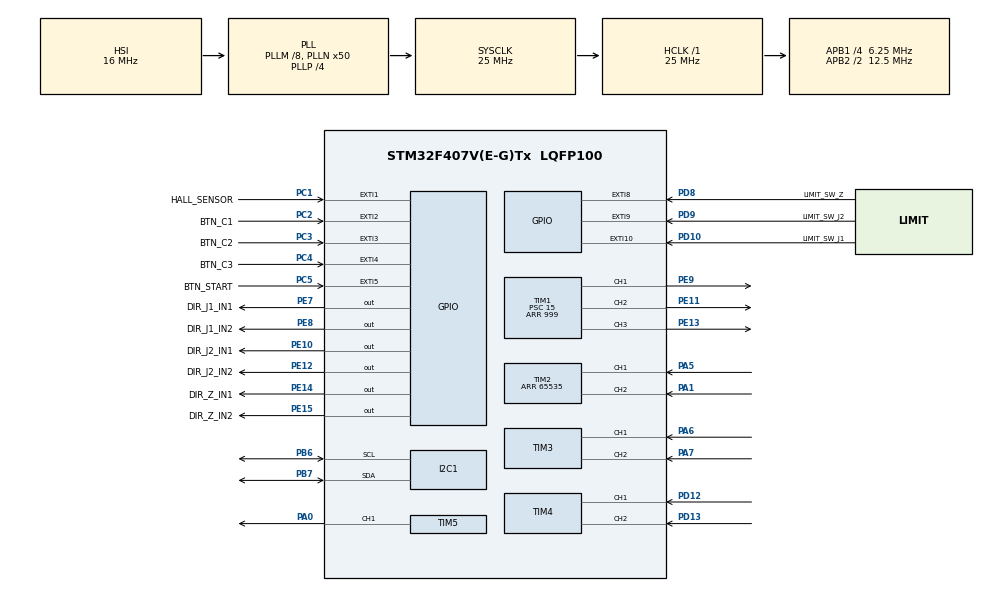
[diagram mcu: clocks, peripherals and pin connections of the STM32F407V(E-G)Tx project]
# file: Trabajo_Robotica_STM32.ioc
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Mcu.Family=STM32F4
Mcu.Name=STM32F407V(E-G)Tx
Mcu.Package=LQFP100
NVIC.EXTI15_10_IRQn=true\:0\:0\:false\:false\:true\:true\:true\:true
NVIC.EXTI1_IRQn=true\:0\:0\:false\:false\:true\:true\:true\:true
NVIC.EXTI2_IRQn=true\:0\:0\:false\:false\:true\:true\:true\:true
NVIC.EXTI3_IRQn=true\:0\:0\:false\:false\:true\:true\:true\:true
NVIC.EXTI4_IRQn=true\:0\:0\:false\:false\:true\:true\:true\:true
NVIC.EXTI9_5_IRQn=true\:0\:0\:false\:false\:true\:true\:true\:true
NVIC.PriorityGroup=NVIC_PRIORITYGROUP_0
PA0-WKUP.Signal=S_TIM5_CH1
PA1.Signal=S_TIM2_CH2
PA5.Signal=S_TIM2_CH1_ETR
PA6.Signal=S_TIM3_CH1
PA7.Signal=S_TIM3_CH2
PB6.Mode=I2C
PB6.Signal=I2C1_SCL
PB7.Mode=I2C
PB7.Signal=I2C1_SDA
PC1.GPIO_Label=HALL_SENSOR
PC1.Signal=GPXTI1
PC2.GPIO_Label=BTN_C1
PC2.Signal=GPXTI2
PC3.GPIO_Label=BTN_C2
PC3.Signal=GPXTI3
PC4.GPIO_Label=BTN_C3
PC4.Signal=GPXTI4
PC5.GPIO_Label=BTN_START
PC5.Signal=GPXTI5
PD10.GPIO_Label=LIMIT_SW_J1
PD10.Signal=GPXTI10
PD12.Signal=S_TIM4_CH1
PD13.Signal=S_TIM4_CH2
PD8.GPIO_Label=LIMIT_SW_Z
PD8.Signal=GPXTI8
PD9.GPIO_Label=LIMIT_SW_J2
PD9.Signal=GPXTI9
PE10.GPIO_Label=DIR_J2_IN1
PE10.Signal=GPIO_Output
PE11.Signal=S_TIM1_CH2
PE12.GPIO_Label=DIR_J2_IN2
PE12.Signal=GPIO_Output
PE13.Signal=S_TIM1_CH3
PE14.GPIO_Label=DIR_Z_IN1
PE14.Signal=GPIO_Output
PE15.GPIO_Label=DIR_Z_IN2
PE15.Signal=GPIO_Output
PE7.GPIO_Label=DIR_J1_IN1
PE7.Signal=GPIO_Output
PE8.GPIO_Label=DIR_J1_IN2
PE8.Signal=GPIO_Output
PE9.Signal=S_TIM1_CH1
ProjectManager.HeapSize=0x200
ProjectManager.StackSize=0x400
ProjectManager.TargetToolchain=STM32CubeIDE
RCC.48MHZClocksFreq_Value=14285714.285714285
RCC.AHBFreq_Value=25000000
RCC.APB1CLKDivider=RCC_HCLK_DIV4
RCC.APB1Freq_Value=6250000
RCC.APB1TimFreq_Value=12500000
RCC.APB2CLKDivider=RCC_HCLK_DIV2
RCC.APB2Freq_Value=12500000
RCC.APB2TimFreq_Value=25000000
RCC.CortexFreq_Value=25000000
RCC.HCLKFreq_Value=25000000
RCC.HSE_VALUE=8000000
RCC.HSI_VALUE=16000000
RCC.LSE_VALUE=32768
RCC.PLLM=8
RCC.PLLN=50
RCC.PLLP=RCC_PLLP_DIV4
RCC.PLLQ=7
RCC.SYSCLKFreq_VALUE=25000000
RCC.SYSCLKSource=RCC_SYSCLKSOURCE_PLLCLK
RCC.VCOOutputFreq_Value=100000000
SH.S_TIM1_CH1.0=TIM1_CH1,PWM Generation1 CH1
SH.S_TIM1_CH2.0=TIM1_CH2,PWM Generation2 CH2
SH.S_TIM1_CH3.0=TIM1_CH3,PWM Generation3 CH3
SH.S_TIM2_CH1_ETR.0=TIM2_CH1,Encoder_Interface
SH.S_TIM2_CH2.0=TIM2_CH2,Encoder_Interface
SH.S_TIM3_CH1.0=TIM3_CH1,Encoder_Interface
SH.S_TIM3_CH2.0=TIM3_CH2,Encoder_Interface
SH.S_TIM4_CH1.0=TIM4_CH1,Encoder_Interface
SH.S_TIM4_CH2.0=TIM4_CH2,Encoder_Interface
SH.S_TIM5_CH1.0=TIM5_CH1,PWM Generation1 CH1
TIM1.Channel-PWM\ Generation1\ CH1=TIM_CHANNEL_1
TIM1.Channel-PWM\ Generation2\ CH2=TIM_CHANNEL_2
TIM1.Channel-PWM\ Generation3\ CH3=TIM_CHANNEL_3
TIM1.Period=999
TIM1.Prescaler=15
TIM2.Period=65535
TIM5.Channel-PWM\ Generation1\ CH1=TIM_CHANNEL_1
TIM5.Period=19999
TIM5.Prescaler=15
board=STM32F407G-DISC1

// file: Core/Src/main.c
/* USER CODE BEGIN Header */
/**
  ******************************************************************************
  * @file           : main.c
  * @brief          : Main program body
  ******************************************************************************
  * @attention
  *
  * Copyright (c) 2026 STMicroelectronics.
  * All rights reserved.
  *
  * This software is licensed under terms that can be found in the LICENSE file
  * in the root directory of this software component.
  * If no LICENSE file comes with this software, it is provided AS-IS.
  *
  ******************************************************************************
  */
/* USER CODE END Header */
#include "main.h"

/* USER CODE BEGIN Includes */
#include "encoder_hw.h"
#include "i2c_lcd_hri.h"
/* USER CODE END Includes */

I2C_HandleTypeDef hi2c1;

TIM_HandleTypeDef htim1;
TIM_HandleTypeDef htim2;
TIM_HandleTypeDef htim3;
TIM_HandleTypeDef htim4;
TIM_HandleTypeDef htim5;

void SystemClock_Config(void);
static void MX_GPIO_Init(void);
static void MX_I2C1_Init(void);
static void MX_TIM1_Init(void);
static void MX_TIM2_Init(void);
static void MX_TIM3_Init(void);
static void MX_TIM4_Init(void);
static void MX_TIM5_Init(void);

/* USER CODE BEGIN PFP */
void Dibujar_Linea_Aleatoria(void);
void Dibujar_Circulo_Aleatorio(void);
void Subir_Rotulador(int y_actual);

//presentamos funciones externas para que el main no se asuste
void Encoders_Init(void);
void Display_LCD_Escribir(int fila, int col, char* texto);
int Leer_Botones_Accion(void);
int Leer_Boton_Reset(void);
/* USER CODE END PFP */

int main(void)
{

  /* MCU Configuration--------------------------------------------------------*/

  /* Reset of all peripherals, Initializes the Flash interface and the Systick. */
  HAL_Init();

  /* Configure the system clock */
  SystemClock_Config();

  /* Initialize all configured peripherals */
  MX_GPIO_Init();
  MX_I2C1_Init();
  MX_TIM1_Init();
  MX_TIM2_Init();
  MX_TIM3_Init();
  MX_TIM4_Init();
  MX_TIM5_Init();

  /* USER CODE BEGIN 2 */
  //nuestro candado de seguridad 0 libre, 1 ocupado
  uint8_t robot_dibujando = 0;

  //arranco los encoders por hardware (Sofia)
  Encoders_Init();

  //mensaje inicial
  Display_LCD_Escribir(0, 0, "ROBOT LISTO");
  /* USER CODE END 2 */

  /* Infinite loop */
  /* USER CODE BEGIN WHILE */
  while (1)
  {
	  //leemos botones
	  int accion = Leer_Botones_Accion();
	  int reset = Leer_Boton_Reset();

	  //PRIORIDAD 1: BOTÓN DE RESET (Pánico / Pulsación Larga)
	        if (reset == 1) {
	            robot_dibujando = 0; // Rompemos el candado por si se había quedado bloqueado
	            Subir_Rotulador(0);  // Levantamos el rotulador a tope por seguridad

	            Display_LCD_Escribir(0, 0, "SISTEMA RESET   ");
	            HAL_Delay(1500);     // Esperamos un segundo y medio
	            Display_LCD_Escribir(0, 0, "ROBOT LISTO     ");
	        }

	        //PRIORIDAD 2: ACCIONES NORMALES
	        else if (accion != 0) {

	            // Acción 1: Girar Gripper
	            if (accion == 1) {
	                if (robot_dibujando == 0) {
	                    Display_LCD_Escribir(0, 0, "GIRANDO GRIPPER ");

	                    // AVISO: Aquí irá la función de girar el tambor de colores
	                    HAL_Delay(500); // Simulamos que tarda un poco

	                    Display_LCD_Escribir(0, 0, "ROBOT LISTO     ");
	                } else {
	                    // Si intentan girar mientras pinta, les regañamos
	                    Display_LCD_Escribir(0, 0, "ERROR: DIBUJANDO");
	                    HAL_Delay(1000);
	                    // Volvemos a poner lo que estaba haciendo
	                    Display_LCD_Escribir(0, 0, "DIBUJANDO...    ");
	                }
	            }

	            // Acción 2: Dibujar Círculo
	            else if (accion == 2 && robot_dibujando == 0) {
	                robot_dibujando = 1; // CERRAMOS CANDADO
	                Display_LCD_Escribir(0, 0, "DIBUJANDO CIRCUL");

	                Dibujar_Circulo_Aleatorio(); // ¡Llamamos a tu super función!

	                robot_dibujando = 0; // ABRIMOS CANDADO
	                Display_LCD_Escribir(0, 0, "ROBOT LISTO     ");
	            }

	            // Acción 3: Dibujar Línea
	            else if (accion == 3 && robot_dibujando == 0) {
	                robot_dibujando = 1; // CERRAMOS CANDADO
	                Display_LCD_Escribir(0, 0, "DIBUJANDO LINEA ");

	                Dibujar_Linea_Aleatoria(); // ¡Llamamos a tu super función!

	                robot_dibujando = 0; // ABRIMOS CANDADO
	                Display_LCD_Escribir(0, 0, "ROBOT LISTO     ");
	            }
	        }

    /* USER CODE END WHILE */

  }
}

void SystemClock_Config(void)
{
  RCC_OscInitTypeDef RCC_OscInitStruct = {0};
  RCC_ClkInitTypeDef RCC_ClkInitStruct = {0};

  /** Configure the main internal regulator output voltage
  */
  __HAL_RCC_PWR_CLK_ENABLE();
  __HAL_PWR_VOLTAGESCALING_CONFIG(PWR_REGULATOR_VOLTAGE_SCALE1);

  /** Initializes the RCC Oscillators according to the specified parameters
  * in the RCC_OscInitTypeDef structure.
  */
  RCC_OscInitStruct.OscillatorType = RCC_OSCILLATORTYPE_HSI;
  RCC_OscInitStruct.HSIState = RCC_HSI_ON;
  RCC_OscInitStruct.HSICalibrationValue = RCC_HSICALIBRATION_DEFAULT;
  RCC_OscInitStruct.PLL.PLLState = RCC_PLL_ON;
  RCC_OscInitStruct.PLL.PLLSource = RCC_PLLSOURCE_HSI;
  RCC_OscInitStruct.PLL.PLLM = 8;
  RCC_OscInitStruct.PLL.PLLN = 50;
  RCC_OscInitStruct.PLL.PLLP = RCC_PLLP_DIV4;
  RCC_OscInitStruct.PLL.PLLQ = 7;
  if (HAL_RCC_OscConfig(&RCC_OscInitStruct) != HAL_OK)
  {
    Error_Handler();
  }

  /** Initializes the CPU, AHB and APB buses clocks
  */
  RCC_ClkInitStruct.ClockType = RCC_CLOCKTYPE_HCLK|RCC_CLOCKTYPE_SYSCLK
                              |RCC_CLOCKTYPE_PCLK1|RCC_CLOCKTYPE_PCLK2;
  RCC_ClkInitStruct.SYSCLKSource = RCC_SYSCLKSOURCE_PLLCLK;
  RCC_ClkInitStruct.AHBCLKDivider = RCC_SYSCLK_DIV1;
  RCC_ClkInitStruct.APB1CLKDivider = RCC_HCLK_DIV4;
  RCC_ClkInitStruct.APB2CLKDivider = RCC_HCLK_DIV2;

  if (HAL_RCC_ClockConfig(&RCC_ClkInitStruct, FLASH_LATENCY_0) != HAL_OK)
  {
    Error_Handler();
  }
}

static void MX_I2C1_Init(void)
{

  hi2c1.Instance = I2C1;
  hi2c1.Init.ClockSpeed = 100000;
  hi2c1.Init.DutyCycle = I2C_DUTYCYCLE_2;
  hi2c1.Init.OwnAddress1 = 0;
  hi2c1.Init.AddressingMode = I2C_ADDRESSINGMODE_7BIT;
  hi2c1.Init.DualAddressMode = I2C_DUALADDRESS_DISABLE;
  hi2c1.Init.OwnAddress2 = 0;
  hi2c1.Init.GeneralCallMode = I2C_GENERALCALL_DISABLE;
  hi2c1.Init.NoStretchMode = I2C_NOSTRETCH_DISABLE;
  if (HAL_I2C_Init(&hi2c1) != HAL_OK)
  {
    Error_Handler();
  }

}

static void MX_TIM1_Init(void)
{

  TIM_MasterConfigTypeDef sMasterConfig = {0};
  TIM_OC_InitTypeDef sConfigOC = {0};
  TIM_BreakDeadTimeConfigTypeDef sBreakDeadTimeConfig = {0};

  htim1.Instance = TIM1;
  htim1.Init.Prescaler = 15;
  htim1.Init.CounterMode = TIM_COUNTERMODE_UP;
  htim1.Init.Period = 999;
  htim1.Init.ClockDivision = TIM_CLOCKDIVISION_DIV1;
  htim1.Init.RepetitionCounter = 0;
  htim1.Init.AutoReloadPreload = TIM_AUTORELOAD_PRELOAD_DISABLE;
  if (HAL_TIM_PWM_Init(&htim1) != HAL_OK)
  {
    Error_Handler();
  }
  sMasterConfig.MasterOutputTrigger = TIM_TRGO_RESET;
  sMasterConfig.MasterSlaveMode = TIM_MASTERSLAVEMODE_DISABLE;
  if (HAL_TIMEx_MasterConfigSynchronization(&htim1, &sMasterConfig) != HAL_OK)
  {
    Error_Handler();
  }
  sConfigOC.OCMode = TIM_OCMODE_PWM1;
  sConfigOC.Pulse = 0;
  sConfigOC.OCPolarity = TIM_OCPOLARITY_HIGH;
  sConfigOC.OCNPolarity = TIM_OCNPOLARITY_HIGH;
  sConfigOC.OCFastMode = TIM_OCFAST_DISABLE;
  sConfigOC.OCIdleState = TIM_OCIDLESTATE_RESET;
  sConfigOC.OCNIdleState = TIM_OCNIDLESTATE_RESET;
  if (HAL_TIM_PWM_ConfigChannel(&htim1, &sConfigOC, TIM_CHANNEL_1) != HAL_OK)
  {
    Error_Handler();
  }
  if (HAL_TIM_PWM_ConfigChannel(&htim1, &sConfigOC, TIM_CHANNEL_2) != HAL_OK)
  {
    Error_Handler();
  }
  if (HAL_TIM_PWM_ConfigChannel(&htim1, &sConfigOC, TIM_CHANNEL_3) != HAL_OK)
  {
    Error_Handler();
  }
  sBreakDeadTimeConfig.OffStateRunMode = TIM_OSSR_DISABLE;
  sBreakDeadTimeConfig.OffStateIDLEMode = TIM_OSSI_DISABLE;
  sBreakDeadTimeConfig.LockLevel = TIM_LOCKLEVEL_OFF;
  sBreakDeadTimeConfig.DeadTime = 0;
  sBreakDeadTimeConfig.BreakState = TIM_BREAK_DISABLE;
  sBreakDeadTimeConfig.BreakPolarity = TIM_BREAKPOLARITY_HIGH;
  sBreakDeadTimeConfig.AutomaticOutput = TIM_AUTOMATICOUTPUT_DISABLE;
  if (HAL_TIMEx_ConfigBreakDeadTime(&htim1, &sBreakDeadTimeConfig) != HAL_OK)
  {
    Error_Handler();
  }
  HAL_TIM_MspPostInit(&htim1);

}

static void MX_TIM2_Init(void)
{

  TIM_Encoder_InitTypeDef sConfig = {0};
  TIM_MasterConfigTypeDef sMasterConfig = {0};

  htim2.Instance = TIM2;
  htim2.Init.Prescaler = 0;
  htim2.Init.CounterMode = TIM_COUNTERMODE_UP;
  htim2.Init.Period = 65535;
  htim2.Init.ClockDivision = TIM_CLOCKDIVISION_DIV1;
  htim2.Init.AutoReloadPreload = TIM_AUTORELOAD_PRELOAD_DISABLE;
  sConfig.EncoderMode = TIM_ENCODERMODE_TI1;
  sConfig.IC1Polarity = TIM_ICPOLARITY_RISING;
  sConfig.IC1Selection = TIM_ICSELECTION_DIRECTTI;
  sConfig.IC1Prescaler = TIM_ICPSC_DIV1;
  sConfig.IC1Filter = 0;
  sConfig.IC2Polarity = TIM_ICPOLARITY_RISING;
  sConfig.IC2Selection = TIM_ICSELECTION_DIRECTTI;
  sConfig.IC2Prescaler = TIM_ICPSC_DIV1;
  sConfig.IC2Filter = 0;
  if (HAL_TIM_Encoder_Init(&htim2, &sConfig) != HAL_OK)
  {
    Error_Handler();
  }
  sMasterConfig.MasterOutputTrigger = TIM_TRGO_RESET;
  sMasterConfig.MasterSlaveMode = TIM_MASTERSLAVEMODE_DISABLE;
  if (HAL_TIMEx_MasterConfigSynchronization(&htim2, &sMasterConfig) != HAL_OK)
  {
    Error_Handler();
  }

}

static void MX_TIM3_Init(void)
{

  TIM_Encoder_InitTypeDef sConfig = {0};
  TIM_MasterConfigTypeDef sMasterConfig = {0};

  htim3.Instance = TIM3;
  htim3.Init.Prescaler = 0;
  htim3.Init.CounterMode = TIM_COUNTERMODE_UP;
  htim3.Init.Period = 65535;
  htim3.Init.ClockDivision = TIM_CLOCKDIVISION_DIV1;
  htim3.Init.AutoReloadPreload = TIM_AUTORELOAD_PRELOAD_DISABLE;
  sConfig.EncoderMode = TIM_ENCODERMODE_TI1;
  sConfig.IC1Polarity = TIM_ICPOLARITY_RISING;
  sConfig.IC1Selection = TIM_ICSELECTION_DIRECTTI;
  sConfig.IC1Prescaler = TIM_ICPSC_DIV1;
  sConfig.IC1Filter = 0;
  sConfig.IC2Polarity = TIM_ICPOLARITY_RISING;
  sConfig.IC2Selection = TIM_ICSELECTION_DIRECTTI;
  sConfig.IC2Prescaler = TIM_ICPSC_DIV1;
  sConfig.IC2Filter = 0;
  if (HAL_TIM_Encoder_Init(&htim3, &sConfig) != HAL_OK)
  {
    Error_Handler();
  }
  sMasterConfig.MasterOutputTrigger = TIM_TRGO_RESET;
  sMasterConfig.MasterSlaveMode = TIM_MASTERSLAVEMODE_DISABLE;
  if (HAL_TIMEx_MasterConfigSynchronization(&htim3, &sMasterConfig) != HAL_OK)
  {
    Error_Handler();
  }

}

static void MX_TIM4_Init(void)
{

  TIM_Encoder_InitTypeDef sConfig = {0};
  TIM_MasterConfigTypeDef sMasterConfig = {0};

  htim4.Instance = TIM4;
  htim4.Init.Prescaler = 0;
  htim4.Init.CounterMode = TIM_COUNTERMODE_UP;
  htim4.Init.Period = 65535;
  htim4.Init.ClockDivision = TIM_CLOCKDIVISION_DIV1;
  htim4.Init.AutoReloadPreload = TIM_AUTORELOAD_PRELOAD_DISABLE;
  sConfig.EncoderMode = TIM_ENCODERMODE_TI1;
  sConfig.IC1Polarity = TIM_ICPOLARITY_RISING;
  sConfig.IC1Selection = TIM_ICSELECTION_DIRECTTI;
  sConfig.IC1Prescaler = TIM_ICPSC_DIV1;
  sConfig.IC1Filter = 0;
  sConfig.IC2Polarity = TIM_ICPOLARITY_RISING;
  sConfig.IC2Selection = TIM_ICSELECTION_DIRECTTI;
  sConfig.IC2Prescaler = TIM_ICPSC_DIV1;
  sConfig.IC2Filter = 0;
  if (HAL_TIM_Encoder_Init(&htim4, &sConfig) != HAL_OK)
  {
    Error_Handler();
  }
  sMasterConfig.MasterOutputTrigger = TIM_TRGO_RESET;
  sMasterConfig.MasterSlaveMode = TIM_MASTERSLAVEMODE_DISABLE;
  if (HAL_TIMEx_MasterConfigSynchronization(&htim4, &sMasterConfig) != HAL_OK)
  {
    Error_Handler();
  }

}

static void MX_TIM5_Init(void)
{

  TIM_MasterConfigTypeDef sMasterConfig = {0};
  TIM_OC_InitTypeDef sConfigOC = {0};

  htim5.Instance = TIM5;
  htim5.Init.Prescaler = 15;
  htim5.Init.CounterMode = TIM_COUNTERMODE_UP;
  htim5.Init.Period = 19999;
  htim5.Init.ClockDivision = TIM_CLOCKDIVISION_DIV1;
  htim5.Init.AutoReloadPreload = TIM_AUTORELOAD_PRELOAD_DISABLE;
  if (HAL_TIM_PWM_Init(&htim5) != HAL_OK)
  {
    Error_Handler();
  }
  sMasterConfig.MasterOutputTrigger = TIM_TRGO_RESET;
  sMasterConfig.MasterSlaveMode = TIM_MASTERSLAVEMODE_DISABLE;
  if (HAL_TIMEx_MasterConfigSynchronization(&htim5, &sMasterConfig) != HAL_OK)
  {
    Error_Handler();
  }
  sConfigOC.OCMode = TIM_OCMODE_PWM1;
  sConfigOC.Pulse = 0;
  sConfigOC.OCPolarity = TIM_OCPOLARITY_HIGH;
  sConfigOC.OCFastMode = TIM_OCFAST_DISABLE;
  if (HAL_TIM_PWM_ConfigChannel(&htim5, &sConfigOC, TIM_CHANNEL_1) != HAL_OK)
  {
    Error_Handler();
  }
  HAL_TIM_MspPostInit(&htim5);

}

static void MX_GPIO_Init(void)
{
  GPIO_InitTypeDef GPIO_InitStruct = {0};

  /* GPIO Ports Clock Enable */
  __HAL_RCC_GPIOC_CLK_ENABLE();
  __HAL_RCC_GPIOA_CLK_ENABLE();
  __HAL_RCC_GPIOE_CLK_ENABLE();
  __HAL_RCC_GPIOD_CLK_ENABLE();
  __HAL_RCC_GPIOB_CLK_ENABLE();

  /*Configure GPIO pin Output Level */
  HAL_GPIO_WritePin(GPIOE, DIR_J1_IN1_Pin|DIR_J1_IN2_Pin|DIR_J2_IN1_Pin|DIR_J2_IN2_Pin
                          |DIR_Z_IN1_Pin|DIR_Z_IN2_Pin, GPIO_PIN_RESET);

  /*Configure GPIO pins : HALL_SENSOR_Pin BTN_C1_Pin BTN_C2_Pin BTN_C3_Pin
                           BTN_START_Pin */
  GPIO_InitStruct.Pin = HALL_SENSOR_Pin|BTN_C1_Pin|BTN_C2_Pin|BTN_C3_Pin
                          |BTN_START_Pin;
  GPIO_InitStruct.Mode = GPIO_MODE_IT_RISING;
  GPIO_InitStruct.Pull = GPIO_NOPULL;
  HAL_GPIO_Init(GPIOC, &GPIO_InitStruct);

  /*Configure GPIO pins : DIR_J1_IN1_Pin DIR_J1_IN2_Pin DIR_J2_IN1_Pin DIR_J2_IN2_Pin
                           DIR_Z_IN1_Pin DIR_Z_IN2_Pin */
  GPIO_InitStruct.Pin = DIR_J1_IN1_Pin|DIR_J1_IN2_Pin|DIR_J2_IN1_Pin|DIR_J2_IN2_Pin
                          |DIR_Z_IN1_Pin|DIR_Z_IN2_Pin;
  GPIO_InitStruct.Mode = GPIO_MODE_OUTPUT_PP;
  GPIO_InitStruct.Pull = GPIO_NOPULL;
  GPIO_InitStruct.Speed = GPIO_SPEED_FREQ_LOW;
  HAL_GPIO_Init(GPIOE, &GPIO_InitStruct);

  /*Configure GPIO pins : LIMIT_SW_Z_Pin LIMIT_SW_J2_Pin LIMIT_SW_J1_Pin */
  GPIO_InitStruct.Pin = LIMIT_SW_Z_Pin|LIMIT_SW_J2_Pin|LIMIT_SW_J1_Pin;
  GPIO_InitStruct.Mode = GPIO_MODE_IT_RISING;
  GPIO_InitStruct.Pull = GPIO_NOPULL;
  HAL_GPIO_Init(GPIOD, &GPIO_InitStruct);

  /* EXTI interrupt init*/
  HAL_NVIC_SetPriority(EXTI1_IRQn, 0, 0);
  HAL_NVIC_EnableIRQ(EXTI1_IRQn);

  HAL_NVIC_SetPriority(EXTI2_IRQn, 0, 0);
  HAL_NVIC_EnableIRQ(EXTI2_IRQn);

  HAL_NVIC_SetPriority(EXTI3_IRQn, 0, 0);
  HAL_NVIC_EnableIRQ(EXTI3_IRQn);

  HAL_NVIC_SetPriority(EXTI4_IRQn, 0, 0);
  HAL_NVIC_EnableIRQ(EXTI4_IRQn);

  HAL_NVIC_SetPriority(EXTI9_5_IRQn, 0, 0);
  HAL_NVIC_EnableIRQ(EXTI9_5_IRQn);

  HAL_NVIC_SetPriority(EXTI15_10_IRQn, 0, 0);
  HAL_NVIC_EnableIRQ(EXTI15_10_IRQn);

}

void Error_Handler(void)
{
  __disable_irq();
  while (1)
  {
  }
}
